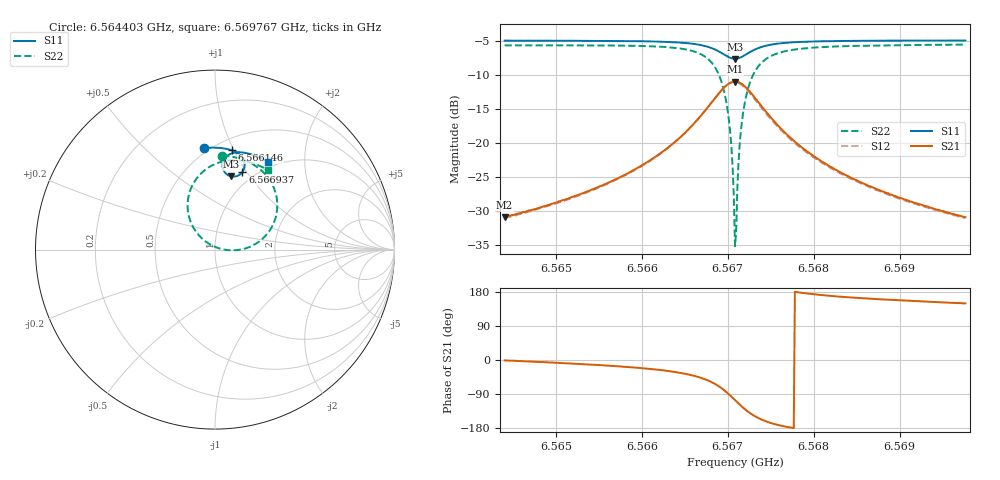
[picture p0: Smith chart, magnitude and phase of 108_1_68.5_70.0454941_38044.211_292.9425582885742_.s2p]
#  HZ  S  RI  R  50.00
! Rohde & Schwarz Vector Network Analyzer
! Rohde-Schwarz,ZNB20-2Port,1311601062101988,3.16
! Created: UTC 3/20/2024, 5:08:35 PM
! freq[Hz]  re:S11  im:S11  re:S21  im:S21  re:S12  im:S12  re:S22  im:S22
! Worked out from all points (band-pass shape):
!   401 points, 6.564403 GHz to 6.569767 GHz, reference 50 ohm
!   highest |S21| = -10.93 dB at 6.567085 GHz (marker M1); lowest = -31.0 dB at 6.564403 GHz (marker M2)
!   |S21| within 3 dB of the highest: 6.566818 GHz to 6.567354 GHz (536.2 kHz wide, 0.00816 % of centre)
!   lowest |S11| = -7.6 dB at 6.567085 GHz (marker M3), VSWR 2.44, Z = 41.5 + j41 ohm
!   |S11| at or under -10 dB: nowhere
!   |S22| runs from -35.2 to -5.5 dB; largest |S21 - S12| = 0.013
!   S11 on the Smith chart (normalised r, x): 6.564403 GHz: 0.47, +0.78; 6.566146 GHz: 0.61, +0.98; 6.566937 GHz: 0.87, +0.95; 6.569767 GHz: 0.91, +1.32
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6.5644031e9  -0.0592 0.566  0.0282 -0.000539  0.0279 -0.00109  0.0405 0.5238
6.5653015e9  0.0146 0.5676  0.0416 -0.00806  0.0409 -0.00854  0.126 0.5101
6.5661463e9  0.0938 0.553  0.0709 -0.0328  0.0699 -0.0335  0.2376 0.4579
6.5661999e9  0.0996 0.5509  0.0741 -0.0361  0.073 -0.0371  0.2468 0.4508
6.5665083e9  0.1355 0.5299  0.0964 -0.0713  0.0949 -0.0728  0.3089 0.3818
6.5667229e9  0.16 0.4967  0.1094 -0.1288  0.1067 -0.1315  0.3461 0.2705
6.5668435e9  0.1648 0.4639  0.0988 -0.1864  0.094 -0.19  0.3321 0.1609
6.5669374e9  0.1526 0.4318  0.0604 -0.2413  0.0522 -0.2442  0.2629 0.0587
6.5669776e9  0.1403 0.4193  0.031 -0.2617  0.021 -0.2632  0.2088 0.0222
6.5670179e9  0.1237 0.4102  -0.00606 -0.2753  -0.0176 -0.2746  0.1409 -0.000352
6.5670447e9  0.1107 0.407  -0.034 -0.2787  -0.046 -0.2761  0.0905 -0.00416
6.5670715e9  0.0969 0.407  -0.0628 -0.2767  -0.0748 -0.2717  0.0394 0.00234
6.5670849e9  0.0901 0.4079  -0.0771 -0.2734  -0.0889 -0.2674  0.0143 0.00979
6.5671117e9  0.0771 0.4125  -0.1043 -0.2627  -0.1151 -0.2549  -0.0325 0.0319
6.5671385e9  0.0654 0.4198  -0.1284 -0.2474  -0.1378 -0.2377  -0.0727 0.0621
6.5671788e9  0.0522 0.4341  -0.1568 -0.2179  -0.1634 -0.2068  -0.1176 0.1175
6.5672324e9  0.043 0.456  -0.1782 -0.1742  -0.1814 -0.1629  -0.148 0.1965
6.5672995e9  0.043 0.4817  -0.1844 -0.1241  -0.1842 -0.1142  -0.1498 0.2845
6.5675542e9  0.0827 0.5316  -0.1391 -0.0253  -0.136 -0.0212  -0.0468 0.4502
6.5679833e9  0.1435 0.5422  -0.0809 0.00878  -0.079 0.00991  0.0845 0.4975
6.5688817e9  0.2275 0.5217  -0.0391 0.0152  -0.0383 0.0154  0.2148 0.48
6.5697667e9  0.293 0.4899  -0.0244 0.0143  -0.0239 0.0146  0.2927 0.4442
